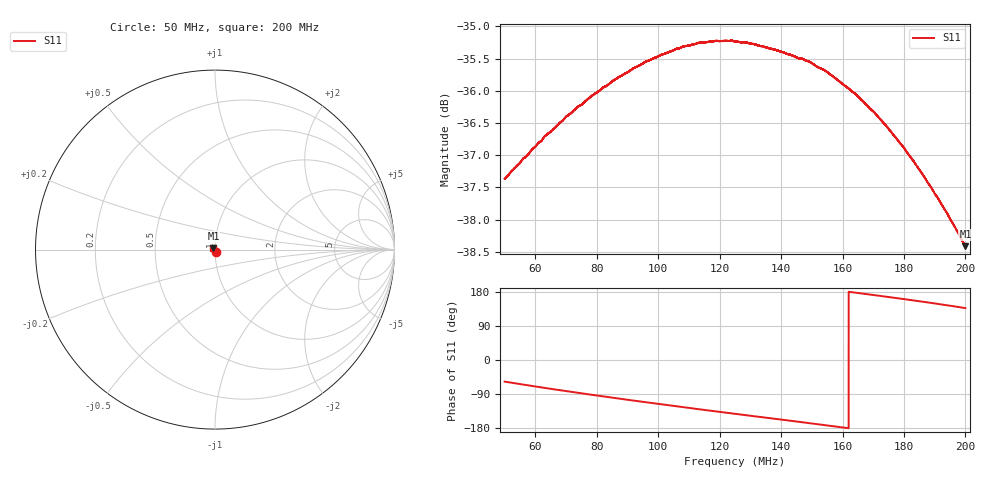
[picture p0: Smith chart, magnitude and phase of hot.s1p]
! COPPER MOUNTAIN TECHNOLOGIES, PLANAR TR1300/1, 00071119, 20.2.2/1.0
! Date: 1/9/2024 7:14:53 PM
! Data: Format [Calibration Info]
! Freq  S11: Re/Im F1
# HZ S RI R 50
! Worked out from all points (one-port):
!   12288 points, 50 MHz to 200 MHz, reference 50 ohm
!   lowest |S11| = -38.4 dB at 200 MHz (marker M1), VSWR 1.02, Z = 49.1 + j0.805 ohm
!   |S11| at or under -10 dB: start of sweep to end of sweep
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5e7  0.00738 -0.0114
5.073248e7  0.00721 -0.0115
6.335558e7  0.00403 -0.0141
6.875153e7  0.00247 -0.0148
7.361032e7  0.00102 -0.0153
7.824937e7  -0.000447 -0.0157
8.750305e7  -0.00341 -0.0159
9.596321e7  -0.0061 -0.0155
1.062546e8  -0.00923 -0.0144
1.133841e8  -0.0111 -0.0132
1.188533e8  -0.0124 -0.0121
1.250061e8  -0.0136 -0.0107
1.312932e8  -0.0147 -0.00901
1.383129e8  -0.0155 -0.00706
1.437576e8  -0.016 -0.00548
1.492879e8  -0.0162 -0.00382
1.541345e8  -0.0163 -0.00235
1.625092e8  -0.0159 0.000144
1.646456e8  -0.0157 0.000749
1.705909e8  -0.015 0.0024
1.74705e8  -0.0144 0.00346
1.795516e8  -0.0136 0.00463
1.812607e8  -0.0133 0.00502
1.863758e8  -0.0122 0.00607
1.911126e8  -0.0111 0.00695
1.93957e8  -0.0104 0.00739
1.992919e8  -0.00896 0.0081
2e8  -0.00878 0.00819
